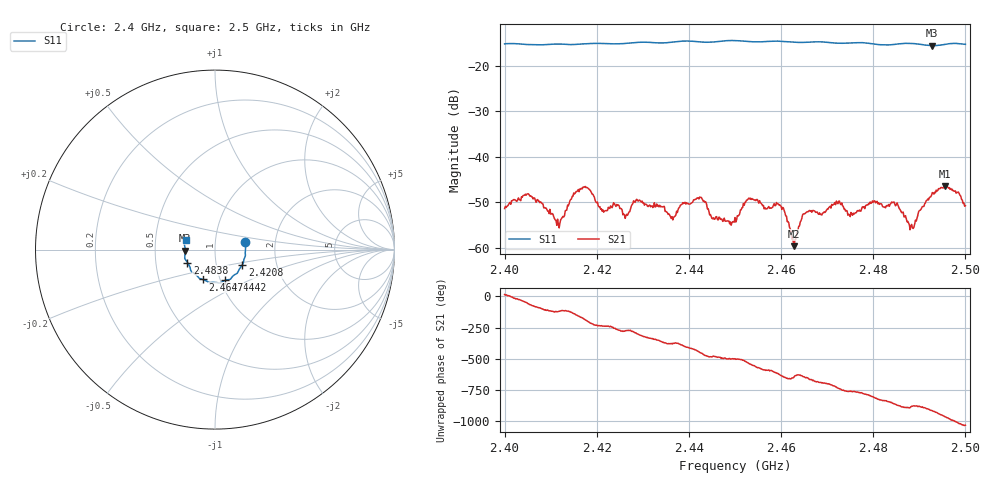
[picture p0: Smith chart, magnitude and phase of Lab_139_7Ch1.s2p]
# Hz S RI R 50
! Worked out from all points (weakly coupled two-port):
!   601 points, 2.4 GHz to 2.5 GHz, reference 50 ohm
!   highest |S21| = -46.39 dB at 2.4955 GHz (marker M1); lowest = -59.6 dB at 2.4628 GHz (marker M2)
!   lowest |S11| = -15.6 dB at 2.4928 GHz (marker M3), VSWR 1.40, Z = 35.8 - j0.378 ohm
!   |S11| at or under -10 dB: start of sweep to end of sweep
!   S12 and S22 are empty: the file has one direction only
!   S11 on the Smith chart (normalised r, x): 2.4 GHz: 1.40, +0.12; 2.4208 GHz: 1.33, -0.24; 2.4442 GHz: 1.05, -0.37; 2.4647 GHz: 0.83, -0.29; 2.4838 GHz: 0.73, -0.11; 2.5 GHz: 0.72, +0.08
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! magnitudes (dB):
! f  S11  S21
! 2.4 GHz  -15.2  -51.3
! 2.4053 GHz  -15.4  -48.3
! 2.4117 GHz  -15.3  -54.8
! 2.4167 GHz  -15.3  -46.9
! 2.4208 GHz  -15.1  -51.5
! 2.4262 GHz  -15.1  -53.5
! 2.4333 GHz  -15.0  -50.7
! 2.4365 GHz  -14.8  -53.8
! 2.4423 GHz  -14.8  -48.8
! 2.4442 GHz  -14.9  -51.4
! 2.45 GHz  -14.5  -53.3
! 2.453 GHz  -14.7  -49.1
! 2.4595 GHz  -14.6  -50.5
! 2.4628 GHz  -14.9  -59.6
! 2.4647 GHz  -14.9  -52.7
! 2.4667 GHz  -14.8  -52.2
! 2.4833 GHz  -15.5  -50.5
! 2.4838 GHz  -15.4  -50.2
! 2.4885 GHz  -15.1  -55.6
! 2.4928 GHz  -15.6  -47.8
! 2.4955 GHz  -15.4  -46.4
! 2.5 GHz  -15.3  -50.7
